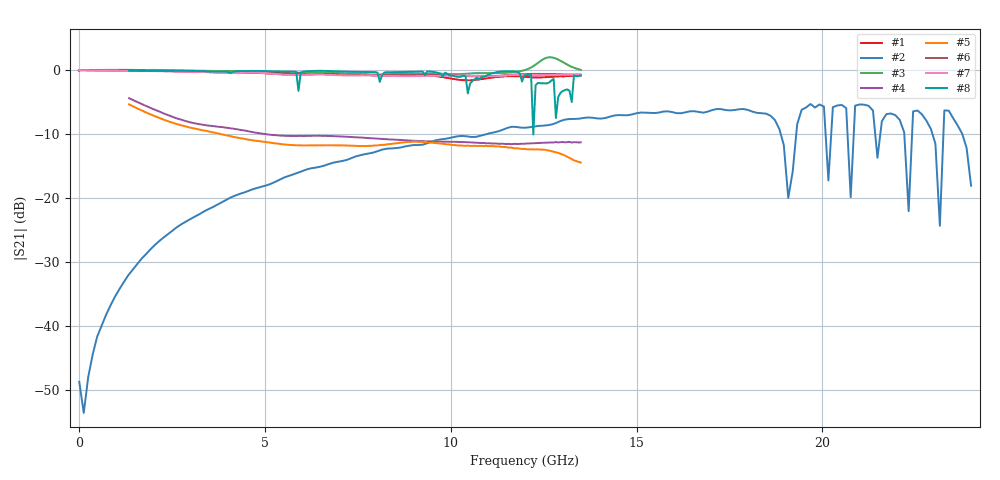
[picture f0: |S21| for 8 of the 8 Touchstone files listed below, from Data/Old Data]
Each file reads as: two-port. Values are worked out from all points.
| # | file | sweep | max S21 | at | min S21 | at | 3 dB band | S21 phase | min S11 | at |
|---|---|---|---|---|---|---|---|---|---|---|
| 1 | 50mm_coax_5mm_HDPE_10-5.s2p | 300 kHz to 13.5 GHz | 0.01 dB | 17.17 MHz | -1.6 dB | 10.43 GHz | 300 kHz-13.5 GHz | 4 deg at 6.75 GHz | -59.4 dB | 17.17 MHz |
| 2 | 50mm_coax_air_10-5-rs.s2p | 10 MHz to 24 GHz | -5.31 dB | 19.68 GHz | -53.6 dB | 129.9 MHz | 12.84 GHz-18.72 GHz | 163 deg at 12.01 GHz | -7.7 dB | 19.44 GHz |
| 3 | Brandon(4)thinhdpecoax.s2p | 300 kHz to 13.5 GHz | 2.00 dB | 12.69 GHz | -0.7 dB | 8.033 GHz | 300 kHz-13.5 GHz | -131 deg at 6.75 GHz | -45.9 dB | 67.8 MHz |
| 4 | Coax50mm_0p658_CoZn_20p_graphite_6-22.s2p | 1.35 GHz to 13.5 GHz | -4.40 dB | 1.35 GHz | -11.6 dB | 11.62 GHz | 1.35 GHz-2.504 GHz | 65 deg at 7.425 GHz | -7.4 dB | 6.878 GHz |
| 5 | Coax75mm_0p474mm_CoZn_20p_graphite_6-22.s2p | 1.35 GHz to 13.5 GHz | -5.36 dB | 1.35 GHz | -14.5 dB | 13.5 GHz | 1.35 GHz-2.565 GHz | -136 deg at 7.425 GHz | -6.8 dB | 13.44 GHz |
| 6 | coax_50mm_HDPE_5mm_9-23_ag.s2p | 300 kHz to 13.5 GHz | 0.01 dB | 17.17 MHz | -1.0 dB | 10.75 GHz | 300 kHz-13.5 GHz | 4 deg at 6.75 GHz | -57.6 dB | 17.17 MHz |
| 7 | coax_75mm_HDPE_5mm_9-15.s2p | 300 kHz to 13.5 GHz | 0.00 dB | 17.17 MHz | -1.0 dB | 11.05 GHz | 300 kHz-13.5 GHz | 17 deg at 6.75 GHz | -58.6 dB | 17.17 MHz |
| 8 | stripline11mmAir.s2p | 1.35 GHz to 13.5 GHz | -0.10 dB | 1.35 GHz | -10.1 dB | 12.22 GHz | 1.35 GHz-5.846 GHz | 53 deg at 7.425 GHz | -40.4 dB | 3.962 GHz |
